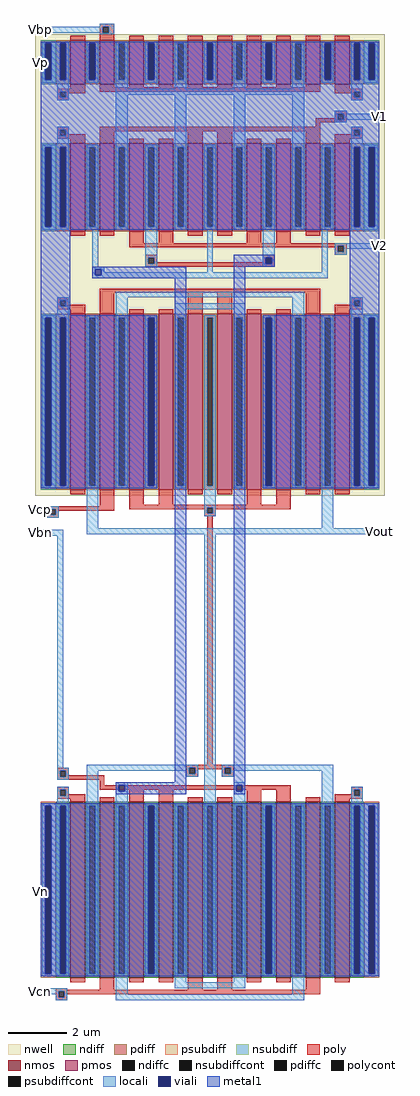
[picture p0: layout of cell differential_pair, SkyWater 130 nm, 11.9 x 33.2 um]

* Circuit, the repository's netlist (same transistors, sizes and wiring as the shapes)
* SPICE3 file created from /home/madvlsi/Documents/MADVLSI-MP3/layout/differential_pair.ext - technology: sky130A


* Top level circuit /home/madvlsi/Documents/MADVLSI-MP3/layout/differential_pair

X0 a_70_150# V1 a_270_150# Vp sky130_fd_pr__pfet_01v8 ad=4.5e+12p pd=2.1e+07u as=9e+12p ps=4.4e+07u w=3e+06u l=500000u
X1 Vp a_70_n4930# a_670_n1610# Vp sky130_fd_pr__pfet_01v8 ad=2.025e+13p pd=9.4e+07u as=6e+12p ps=2.6e+07u w=6e+06u l=500000u
X2 Vp Vbp a_270_150# Vp sky130_fd_pr__pfet_01v8 ad=0p pd=0u as=0p ps=0u w=1.5e+06u l=500000u
X3 a_270_n1610# a_70_n4930# Vp Vp sky130_fd_pr__pfet_01v8 ad=6e+12p pd=2.6e+07u as=0p ps=0u w=6e+06u l=500000u
X4 a_470_150# V2 a_270_150# Vp sky130_fd_pr__pfet_01v8 ad=3e+12p pd=1.4e+07u as=0p ps=0u w=3e+06u l=500000u
X5 Vp Vbp a_270_150# Vp sky130_fd_pr__pfet_01v8 ad=0p pd=0u as=0p ps=0u w=1.5e+06u l=500000u
X6 a_270_n1610# Vcp Vout Vp sky130_fd_pr__pfet_01v8 ad=0p pd=0u as=6e+12p ps=2.6e+07u w=6e+06u l=500000u
X7 a_70_150# V1 a_270_150# Vp sky130_fd_pr__pfet_01v8 ad=0p pd=0u as=0p ps=0u w=3e+06u l=500000u
X8 Vout Vcp a_270_n1610# Vp sky130_fd_pr__pfet_01v8 ad=0p pd=0u as=0p ps=0u w=6e+06u l=500000u
X9 Vn Vbn a_470_150# Vn sky130_fd_pr__nfet_01v8 ad=1.2e+13p pd=5.2e+07u as=6e+12p ps=2.6e+07u w=6e+06u l=500000u
X10 Vp a_70_n4930# a_270_n1610# Vp sky130_fd_pr__pfet_01v8 ad=0p pd=0u as=0p ps=0u w=6e+06u l=500000u
X11 a_270_150# Vbp Vp Vp sky130_fd_pr__pfet_01v8 ad=0p pd=0u as=0p ps=0u w=1.5e+06u l=500000u
X12 Vp Vp Vout Vp sky130_fd_pr__pfet_01v8 ad=0p pd=0u as=0p ps=0u w=6e+06u l=500000u
X13 a_70_150# Vbn Vn Vn sky130_fd_pr__nfet_01v8 ad=6e+12p pd=2.6e+07u as=0p ps=0u w=6e+06u l=500000u
X14 a_270_150# Vbp Vp Vp sky130_fd_pr__pfet_01v8 ad=0p pd=0u as=0p ps=0u w=1.5e+06u l=500000u
X15 a_470_150# V2 a_270_150# Vp sky130_fd_pr__pfet_01v8 ad=0p pd=0u as=0p ps=0u w=3e+06u l=500000u
X16 a_670_n1610# a_70_n4930# Vp Vp sky130_fd_pr__pfet_01v8 ad=0p pd=0u as=0p ps=0u w=6e+06u l=500000u
X17 a_270_150# V1 a_70_150# Vp sky130_fd_pr__pfet_01v8 ad=0p pd=0u as=0p ps=0u w=3e+06u l=500000u
X18 a_70_150# Vcn a_70_n4930# Vn sky130_fd_pr__nfet_01v8 ad=0p pd=0u as=6e+12p ps=2.6e+07u w=6e+06u l=500000u
X19 a_70_n4930# Vcn a_70_150# Vn sky130_fd_pr__nfet_01v8 ad=0p pd=0u as=0p ps=0u w=6e+06u l=500000u
X20 a_270_150# Vbp Vp Vp sky130_fd_pr__pfet_01v8 ad=0p pd=0u as=0p ps=0u w=1.5e+06u l=500000u
X21 a_70_n4930# Vcp a_670_n1610# Vp sky130_fd_pr__pfet_01v8 ad=3e+12p pd=1.3e+07u as=0p ps=0u w=6e+06u l=500000u
X22 Vn Vbn a_70_150# Vn sky130_fd_pr__nfet_01v8 ad=0p pd=0u as=0p ps=0u w=6e+06u l=500000u
X23 Vout Vp Vp Vp sky130_fd_pr__pfet_01v8 ad=0p pd=0u as=0p ps=0u w=6e+06u l=500000u
X24 Vn Vn a_70_n4930# Vn sky130_fd_pr__nfet_01v8 ad=0p pd=0u as=0p ps=0u w=6e+06u l=500000u
X25 Vp Vbp a_270_150# Vp sky130_fd_pr__pfet_01v8 ad=0p pd=0u as=0p ps=0u w=1.5e+06u l=500000u
X26 a_270_150# V2 a_470_150# Vp sky130_fd_pr__pfet_01v8 ad=0p pd=0u as=0p ps=0u w=3e+06u l=500000u
X27 a_670_n1610# Vcp a_70_n4930# Vp sky130_fd_pr__pfet_01v8 ad=0p pd=0u as=0p ps=0u w=6e+06u l=500000u
X28 a_470_150# Vbn Vn Vn sky130_fd_pr__nfet_01v8 ad=0p pd=0u as=0p ps=0u w=6e+06u l=500000u
X29 Vp Vp a_70_150# Vp sky130_fd_pr__pfet_01v8 ad=0p pd=0u as=0p ps=0u w=3e+06u l=500000u
X30 Vout Vcn a_470_150# Vn sky130_fd_pr__nfet_01v8 ad=3e+12p pd=1.3e+07u as=0p ps=0u w=6e+06u l=500000u
X31 Vp Vbp a_270_150# Vp sky130_fd_pr__pfet_01v8 ad=0p pd=0u as=0p ps=0u w=1.5e+06u l=500000u
X32 a_270_150# V1 a_70_150# Vp sky130_fd_pr__pfet_01v8 ad=0p pd=0u as=0p ps=0u w=3e+06u l=500000u
X33 a_70_n4930# Vn Vn Vn sky130_fd_pr__nfet_01v8 ad=0p pd=0u as=0p ps=0u w=6e+06u l=500000u
X34 a_470_150# Vcn Vout Vn sky130_fd_pr__nfet_01v8 ad=0p pd=0u as=0p ps=0u w=6e+06u l=500000u
X35 a_270_150# Vbp Vp Vp sky130_fd_pr__pfet_01v8 ad=0p pd=0u as=0p ps=0u w=1.5e+06u l=500000u
X36 a_70_150# Vp Vp Vp sky130_fd_pr__pfet_01v8 ad=0p pd=0u as=0p ps=0u w=3e+06u l=500000u
X37 a_270_150# V2 a_470_150# Vp sky130_fd_pr__pfet_01v8 ad=0p pd=0u as=0p ps=0u w=3e+06u l=500000u
X38 Vp Vp Vp Vp sky130_fd_pr__pfet_01v8 ad=0p pd=0u as=0p ps=0u w=1.5e+06u l=500000u
X39 Vp Vp Vp Vp sky130_fd_pr__pfet_01v8 ad=0p pd=0u as=0p ps=0u w=1.5e+06u l=500000u
.end

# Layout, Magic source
magic
tech sky130A
<< nwell >>
rect -135 -825 1055 745
<< nmos >>
rect -15 -2465 35 -1865
rect 85 -2465 135 -1865
rect 185 -2465 235 -1865
rect 285 -2465 335 -1865
rect 385 -2465 435 -1865
rect 485 -2465 535 -1865
rect 585 -2465 635 -1865
rect 685 -2465 735 -1865
rect 785 -2465 835 -1865
rect 885 -2465 935 -1865
<< pmos >>
rect -15 575 35 725
rect 85 575 135 725
rect 185 575 235 725
rect 285 575 335 725
rect 385 575 435 725
rect 485 575 535 725
rect 585 575 635 725
rect 685 575 735 725
rect 785 575 835 725
rect 885 575 935 725
rect -15 75 35 375
rect 85 75 135 375
rect 185 75 235 375
rect 285 75 335 375
rect 385 75 435 375
rect 485 75 535 375
rect 585 75 635 375
rect 685 75 735 375
rect 785 75 835 375
rect 885 75 935 375
rect -15 -805 35 -205
rect 85 -805 135 -205
rect 185 -805 235 -205
rect 285 -805 335 -205
rect 385 -805 435 -205
rect 485 -805 535 -205
rect 585 -805 635 -205
rect 685 -805 735 -205
rect 785 -805 835 -205
rect 885 -805 935 -205
<< ndiff >>
rect -65 -1880 -15 -1865
rect -65 -2450 -50 -1880
rect -30 -2450 -15 -1880
rect -65 -2465 -15 -2450
rect 35 -1880 85 -1865
rect 35 -2450 50 -1880
rect 70 -2450 85 -1880
rect 35 -2465 85 -2450
rect 135 -1880 185 -1865
rect 135 -2450 150 -1880
rect 170 -2450 185 -1880
rect 135 -2465 185 -2450
rect 235 -1880 285 -1865
rect 235 -2450 250 -1880
rect 270 -2450 285 -1880
rect 235 -2465 285 -2450
rect 335 -1880 385 -1865
rect 335 -2450 350 -1880
rect 370 -2450 385 -1880
rect 335 -2465 385 -2450
rect 435 -1880 485 -1865
rect 435 -2450 450 -1880
rect 470 -2450 485 -1880
rect 435 -2465 485 -2450
rect 535 -1880 585 -1865
rect 535 -2450 550 -1880
rect 570 -2450 585 -1880
rect 535 -2465 585 -2450
rect 635 -1880 685 -1865
rect 635 -2450 650 -1880
rect 670 -2450 685 -1880
rect 635 -2465 685 -2450
rect 735 -1880 785 -1865
rect 735 -2450 750 -1880
rect 770 -2450 785 -1880
rect 735 -2465 785 -2450
rect 835 -1880 885 -1865
rect 835 -2450 850 -1880
rect 870 -2450 885 -1880
rect 835 -2465 885 -2450
rect 935 -1880 985 -1865
rect 935 -2450 950 -1880
rect 970 -2450 985 -1880
rect 935 -2465 985 -2450
<< pdiff >>
rect -65 715 -15 725
rect -65 590 -50 715
rect -30 590 -15 715
rect -65 575 -15 590
rect 35 715 85 725
rect 35 590 50 715
rect 70 590 85 715
rect 35 575 85 590
rect 135 715 185 725
rect 135 590 150 715
rect 170 590 185 715
rect 135 575 185 590
rect 235 715 285 725
rect 235 590 250 715
rect 270 590 285 715
rect 235 575 285 590
rect 335 715 385 725
rect 335 590 350 715
rect 370 590 385 715
rect 335 575 385 590
rect 435 715 485 725
rect 435 590 450 715
rect 470 590 485 715
rect 435 575 485 590
rect 535 715 585 725
rect 535 590 550 715
rect 570 590 585 715
rect 535 575 585 590
rect 635 715 685 725
rect 635 590 650 715
rect 670 590 685 715
rect 635 575 685 590
rect 735 715 785 725
rect 735 590 750 715
rect 770 590 785 715
rect 735 575 785 590
rect 835 715 885 725
rect 835 590 850 715
rect 870 590 885 715
rect 835 575 885 590
rect 935 715 985 725
rect 935 590 950 715
rect 970 590 985 715
rect 935 575 985 590
rect -65 360 -15 375
rect -65 90 -50 360
rect -30 90 -15 360
rect -65 75 -15 90
rect 35 360 85 375
rect 35 90 50 360
rect 70 90 85 360
rect 35 75 85 90
rect 135 360 185 375
rect 135 90 150 360
rect 170 90 185 360
rect 135 75 185 90
rect 235 360 285 375
rect 235 90 250 360
rect 270 90 285 360
rect 235 75 285 90
rect 335 360 385 375
rect 335 90 350 360
rect 370 90 385 360
rect 335 75 385 90
rect 435 360 485 375
rect 435 90 450 360
rect 470 90 485 360
rect 435 75 485 90
rect 535 360 585 375
rect 535 90 550 360
rect 570 90 585 360
rect 535 75 585 90
rect 635 360 685 375
rect 635 90 650 360
rect 670 90 685 360
rect 635 75 685 90
rect 735 360 785 375
rect 735 90 750 360
rect 770 90 785 360
rect 735 75 785 90
rect 835 360 885 375
rect 835 90 850 360
rect 870 90 885 360
rect 835 75 885 90
rect 935 360 985 375
rect 935 90 950 360
rect 970 90 985 360
rect 935 75 985 90
rect -65 -220 -15 -205
rect -65 -790 -50 -220
rect -30 -790 -15 -220
rect -65 -805 -15 -790
rect 35 -220 85 -205
rect 35 -790 50 -220
rect 70 -790 85 -220
rect 35 -805 85 -790
rect 135 -220 185 -205
rect 135 -790 150 -220
rect 170 -790 185 -220
rect 135 -805 185 -790
rect 235 -220 285 -205
rect 235 -790 250 -220
rect 270 -790 285 -220
rect 235 -805 285 -790
rect 335 -220 385 -205
rect 335 -790 350 -220
rect 370 -790 385 -220
rect 335 -805 385 -790
rect 435 -220 485 -205
rect 435 -790 450 -220
rect 470 -790 485 -220
rect 435 -805 485 -790
rect 535 -220 585 -205
rect 535 -790 550 -220
rect 570 -790 585 -220
rect 535 -805 585 -790
rect 635 -220 685 -205
rect 635 -790 650 -220
rect 670 -790 685 -220
rect 635 -805 685 -790
rect 735 -220 785 -205
rect 735 -790 750 -220
rect 770 -790 785 -220
rect 735 -805 785 -790
rect 835 -220 885 -205
rect 835 -790 850 -220
rect 870 -790 885 -220
rect 835 -805 885 -790
rect 935 -220 985 -205
rect 935 -790 950 -220
rect 970 -790 985 -220
rect 935 -805 985 -790
<< ndiffc >>
rect -50 -2450 -30 -1880
rect 50 -2450 70 -1880
rect 150 -2450 170 -1880
rect 250 -2450 270 -1880
rect 350 -2450 370 -1880
rect 450 -2450 470 -1880
rect 550 -2450 570 -1880
rect 650 -2450 670 -1880
rect 750 -2450 770 -1880
rect 850 -2450 870 -1880
rect 950 -2450 970 -1880
<< pdiffc >>
rect -50 590 -30 715
rect 50 590 70 715
rect 150 590 170 715
rect 250 590 270 715
rect 350 590 370 715
rect 450 590 470 715
rect 550 590 570 715
rect 650 590 670 715
rect 750 590 770 715
rect 850 590 870 715
rect 950 590 970 715
rect -50 90 -30 360
rect 50 90 70 360
rect 150 90 170 360
rect 250 90 270 360
rect 350 90 370 360
rect 450 90 470 360
rect 550 90 570 360
rect 650 90 670 360
rect 750 90 770 360
rect 850 90 870 360
rect 950 90 970 360
rect -50 -790 -30 -220
rect 50 -790 70 -220
rect 150 -790 170 -220
rect 250 -790 270 -220
rect 350 -790 370 -220
rect 450 -790 470 -220
rect 550 -790 570 -220
rect 650 -790 670 -220
rect 750 -790 770 -220
rect 850 -790 870 -220
rect 950 -790 970 -220
<< psubdiff >>
rect -115 -1880 -65 -1865
rect -115 -2450 -100 -1880
rect -80 -2450 -65 -1880
rect -115 -2465 -65 -2450
rect 985 -1880 1035 -1865
rect 985 -2450 1000 -1880
rect 1020 -2450 1035 -1880
rect 985 -2465 1035 -2450
<< nsubdiff >>
rect -115 715 -65 725
rect -115 590 -100 715
rect -80 590 -65 715
rect -115 575 -65 590
rect 985 715 1035 725
rect 985 590 1000 715
rect 1020 590 1035 715
rect 985 575 1035 590
rect -115 360 -65 375
rect -115 90 -100 360
rect -80 90 -65 360
rect -115 75 -65 90
rect 985 360 1035 375
rect 985 90 1000 360
rect 1020 90 1035 360
rect 985 75 1035 90
rect -115 -220 -65 -205
rect -115 -790 -100 -220
rect -80 -790 -65 -220
rect -115 -805 -65 -790
rect 985 -220 1035 -205
rect 985 -790 1000 -220
rect 1020 -790 1035 -220
rect 985 -805 1035 -790
<< psubdiffcont >>
rect -100 -2450 -80 -1880
rect 1000 -2450 1020 -1880
<< nsubdiffcont >>
rect -100 590 -80 715
rect 1000 590 1020 715
rect -100 90 -80 360
rect 1000 90 1020 360
rect -100 -790 -80 -220
rect 1000 -790 1020 -220
<< poly >>
rect 85 770 135 780
rect 85 750 95 770
rect 115 750 135 770
rect -15 725 35 740
rect 85 725 135 750
rect 185 725 235 740
rect 285 725 335 740
rect 385 725 435 740
rect 485 725 535 740
rect 585 725 635 740
rect 685 725 735 740
rect 785 725 835 740
rect 885 725 935 740
rect -15 560 35 575
rect -60 550 35 560
rect 85 565 135 575
rect 185 565 235 575
rect 285 565 335 575
rect 385 565 435 575
rect 485 565 535 575
rect 585 565 635 575
rect 685 565 735 575
rect 785 565 835 575
rect 85 550 835 565
rect 885 560 935 575
rect 885 550 980 560
rect -60 530 -50 550
rect -30 545 35 550
rect 885 545 950 550
rect -30 530 -20 545
rect -60 520 -20 530
rect 940 530 950 545
rect 970 530 980 550
rect 940 520 980 530
rect 885 475 925 485
rect 885 460 895 475
rect 820 455 895 460
rect 915 455 925 475
rect 820 445 925 455
rect 820 430 835 445
rect -60 420 -20 430
rect -60 400 -50 420
rect -30 405 -20 420
rect 85 415 835 430
rect -30 400 35 405
rect -60 390 35 400
rect -15 375 35 390
rect 85 375 135 415
rect 185 375 235 390
rect 285 375 335 390
rect 385 375 435 415
rect 485 375 535 415
rect 585 375 635 390
rect 685 375 735 390
rect 785 375 835 415
rect 940 420 980 430
rect 940 405 950 420
rect 885 400 950 405
rect 970 400 980 420
rect 885 390 980 400
rect 885 375 935 390
rect -15 60 35 75
rect 85 60 135 75
rect 185 35 235 75
rect 285 35 335 75
rect 385 60 435 75
rect 485 60 535 75
rect 585 35 635 75
rect 685 35 735 75
rect 785 60 835 75
rect 885 60 935 75
rect 185 25 925 35
rect 185 20 895 25
rect 885 5 895 20
rect 915 5 925 25
rect 885 -5 925 5
rect 240 -15 280 -5
rect 240 -35 250 -15
rect 270 -30 280 -15
rect 640 -15 680 -5
rect 640 -30 650 -15
rect 270 -35 650 -30
rect 670 -35 680 -15
rect 240 -45 680 -35
rect 85 -135 835 -120
rect -60 -160 -20 -150
rect -60 -180 -50 -160
rect -30 -175 -20 -160
rect -30 -180 35 -175
rect -60 -190 35 -180
rect -15 -205 35 -190
rect 85 -205 135 -135
rect 185 -205 235 -190
rect 285 -205 335 -190
rect 385 -205 435 -135
rect 485 -205 535 -135
rect 585 -205 635 -190
rect 685 -205 735 -190
rect 785 -205 835 -135
rect 940 -160 980 -150
rect 940 -175 950 -160
rect 885 -180 950 -175
rect 970 -180 980 -160
rect 885 -190 980 -180
rect 885 -205 935 -190
rect -15 -820 35 -805
rect 85 -860 135 -805
rect -95 -870 135 -860
rect 185 -855 235 -805
rect 285 -855 335 -805
rect 385 -820 435 -805
rect 485 -820 535 -805
rect 585 -855 635 -805
rect 685 -855 735 -805
rect 785 -820 835 -805
rect 885 -820 935 -805
rect 185 -865 735 -855
rect 185 -870 450 -865
rect -95 -890 -85 -870
rect -65 -875 135 -870
rect -65 -890 -55 -875
rect -95 -900 -55 -890
rect 440 -885 450 -870
rect 470 -870 735 -865
rect 470 -885 480 -870
rect 440 -895 480 -885
rect 450 -1740 470 -895
rect 380 -1750 540 -1740
rect -60 -1760 -20 -1750
rect -60 -1780 -50 -1760
rect -30 -1775 -20 -1760
rect 380 -1770 390 -1750
rect 410 -1755 510 -1750
rect 410 -1770 420 -1755
rect -30 -1780 100 -1775
rect 380 -1780 420 -1770
rect 500 -1770 510 -1755
rect 530 -1770 540 -1750
rect 500 -1780 540 -1770
rect -60 -1790 100 -1780
rect 85 -1810 100 -1790
rect -60 -1825 -20 -1815
rect 85 -1825 735 -1810
rect -60 -1845 -50 -1825
rect -30 -1840 -20 -1825
rect -30 -1845 35 -1840
rect -60 -1855 35 -1845
rect -15 -1865 35 -1855
rect 85 -1865 135 -1850
rect 185 -1865 235 -1825
rect 285 -1865 335 -1825
rect 385 -1865 435 -1850
rect 485 -1865 535 -1850
rect 585 -1865 635 -1825
rect 685 -1865 735 -1825
rect 940 -1825 980 -1815
rect 940 -1840 950 -1825
rect 885 -1845 950 -1840
rect 970 -1845 980 -1825
rect 785 -1865 835 -1850
rect 885 -1855 980 -1845
rect 885 -1865 935 -1855
rect -15 -2480 35 -2465
rect -65 -2505 -25 -2500
rect 85 -2505 135 -2465
rect 185 -2480 235 -2465
rect 285 -2480 335 -2465
rect 385 -2505 435 -2465
rect 485 -2505 535 -2465
rect 585 -2480 635 -2465
rect 685 -2480 735 -2465
rect 785 -2505 835 -2465
rect 885 -2480 935 -2465
rect -65 -2510 835 -2505
rect -65 -2530 -55 -2510
rect -35 -2520 835 -2510
rect -35 -2530 -25 -2520
rect -65 -2540 -25 -2530
<< polycont >>
rect 95 750 115 770
rect -50 530 -30 550
rect 950 530 970 550
rect 895 455 915 475
rect -50 400 -30 420
rect 950 400 970 420
rect 895 5 915 25
rect 250 -35 270 -15
rect 650 -35 670 -15
rect -50 -180 -30 -160
rect 950 -180 970 -160
rect -85 -890 -65 -870
rect 450 -885 470 -865
rect -50 -1780 -30 -1760
rect 390 -1770 410 -1750
rect 510 -1770 530 -1750
rect -50 -1845 -30 -1825
rect 950 -1845 970 -1825
rect -55 -2530 -35 -2510
<< locali >>
rect 85 770 135 780
rect -115 750 95 770
rect 115 750 135 770
rect 85 745 135 750
rect -110 715 -20 720
rect -110 590 -100 715
rect -80 590 -50 715
rect -30 590 -20 715
rect -110 580 -20 590
rect 40 715 80 720
rect 40 590 50 715
rect 70 590 80 715
rect 40 580 80 590
rect 140 715 180 720
rect 140 590 150 715
rect 170 590 180 715
rect -60 550 -20 580
rect -60 530 -50 550
rect -30 530 -20 550
rect -60 520 -20 530
rect 140 560 180 590
rect 240 715 280 720
rect 240 590 250 715
rect 270 590 280 715
rect 240 580 280 590
rect 340 715 380 720
rect 340 590 350 715
rect 370 590 380 715
rect 340 560 380 590
rect 440 715 480 720
rect 440 590 450 715
rect 470 590 480 715
rect 440 580 480 590
rect 540 715 580 720
rect 540 590 550 715
rect 570 590 580 715
rect 540 560 580 590
rect 640 715 680 720
rect 640 590 650 715
rect 670 590 680 715
rect 640 580 680 590
rect 740 715 780 720
rect 740 590 750 715
rect 770 590 780 715
rect 740 560 780 590
rect 840 715 880 720
rect 840 590 850 715
rect 870 590 880 715
rect 840 580 880 590
rect 940 715 1030 720
rect 940 590 950 715
rect 970 590 1000 715
rect 1020 590 1030 715
rect 940 580 1030 590
rect 140 540 780 560
rect -60 420 -20 430
rect -60 400 -50 420
rect -30 400 -20 420
rect -60 370 -20 400
rect -110 360 -20 370
rect -110 90 -100 360
rect -80 90 -50 360
rect -30 90 -20 360
rect -110 80 -20 90
rect 40 360 80 370
rect 40 90 50 360
rect 70 90 80 360
rect 40 80 80 90
rect 140 360 180 540
rect 140 90 150 360
rect 170 90 180 360
rect 140 80 180 90
rect 240 360 280 370
rect 240 90 250 360
rect 270 90 280 360
rect 60 -45 80 80
rect 240 -15 280 90
rect 340 360 380 540
rect 340 90 350 360
rect 370 90 380 360
rect 340 80 380 90
rect 440 360 480 370
rect 440 90 450 360
rect 470 90 480 360
rect 440 80 480 90
rect 540 360 580 540
rect 540 90 550 360
rect 570 90 580 360
rect 540 80 580 90
rect 640 360 680 370
rect 640 90 650 360
rect 670 90 680 360
rect 240 -35 250 -15
rect 270 -35 280 -15
rect 240 -45 280 -35
rect 60 -55 100 -45
rect 60 -75 70 -55
rect 90 -65 100 -55
rect 450 -65 470 80
rect 640 -15 680 90
rect 740 360 780 540
rect 940 550 980 580
rect 940 530 950 550
rect 970 530 980 550
rect 940 520 980 530
rect 885 475 925 485
rect 885 455 895 475
rect 915 455 1035 475
rect 885 445 925 455
rect 940 420 980 430
rect 940 400 950 420
rect 970 400 980 420
rect 940 370 980 400
rect 740 90 750 360
rect 770 90 780 360
rect 740 80 780 90
rect 840 360 880 370
rect 840 90 850 360
rect 870 90 880 360
rect 840 80 880 90
rect 940 360 1030 370
rect 940 90 950 360
rect 970 90 1000 360
rect 1020 90 1030 360
rect 940 80 1030 90
rect 640 -35 650 -15
rect 670 -35 680 -15
rect 640 -45 680 -35
rect 840 -65 860 80
rect 885 25 1035 35
rect 885 5 895 25
rect 915 15 1035 25
rect 915 5 925 15
rect 885 -5 925 5
rect 90 -75 860 -65
rect 60 -85 860 -75
rect 140 -150 780 -130
rect -60 -160 -20 -150
rect -60 -180 -50 -160
rect -30 -180 -20 -160
rect -60 -210 -20 -180
rect -110 -220 -20 -210
rect -110 -790 -100 -220
rect -80 -790 -50 -220
rect -30 -790 -20 -220
rect -110 -800 -20 -790
rect 40 -220 80 -210
rect 40 -790 50 -220
rect 70 -790 80 -220
rect -115 -870 -55 -860
rect -115 -880 -85 -870
rect -95 -890 -85 -880
rect -65 -890 -55 -870
rect -95 -900 -55 -890
rect 40 -935 80 -790
rect 140 -220 180 -150
rect 340 -190 580 -170
rect 140 -790 150 -220
rect 170 -790 180 -220
rect 140 -800 180 -790
rect 240 -220 280 -210
rect 240 -790 250 -220
rect 270 -790 280 -220
rect 240 -800 280 -790
rect 340 -220 380 -190
rect 340 -790 350 -220
rect 370 -790 380 -220
rect 340 -800 380 -790
rect 440 -220 480 -210
rect 440 -790 450 -220
rect 470 -790 480 -220
rect 440 -865 480 -790
rect 540 -220 580 -190
rect 540 -790 550 -220
rect 570 -790 580 -220
rect 540 -800 580 -790
rect 640 -220 680 -210
rect 640 -790 650 -220
rect 670 -790 680 -220
rect 640 -800 680 -790
rect 740 -220 780 -150
rect 940 -160 980 -150
rect 940 -180 950 -160
rect 970 -180 980 -160
rect 940 -210 980 -180
rect 740 -790 750 -220
rect 770 -790 780 -220
rect 740 -800 780 -790
rect 840 -220 880 -210
rect 840 -790 850 -220
rect 870 -790 880 -220
rect 440 -885 450 -865
rect 470 -885 480 -865
rect 440 -895 480 -885
rect 840 -935 880 -790
rect 940 -220 1030 -210
rect 940 -790 950 -220
rect 970 -790 1000 -220
rect 1020 -790 1030 -220
rect 940 -800 1030 -790
rect -115 -960 -40 -940
rect 40 -955 1035 -935
rect -60 -1750 -40 -960
rect 40 -1750 420 -1740
rect -60 -1760 -20 -1750
rect -60 -1780 -50 -1760
rect -30 -1780 -20 -1760
rect -60 -1790 -20 -1780
rect 40 -1760 390 -1750
rect -60 -1825 -20 -1815
rect -60 -1845 -50 -1825
rect -30 -1845 -20 -1825
rect -60 -1870 -20 -1845
rect -110 -1880 -20 -1870
rect -110 -2450 -100 -1880
rect -80 -2450 -50 -1880
rect -30 -2450 -20 -1880
rect -110 -2460 -20 -2450
rect 40 -1880 80 -1760
rect 380 -1770 390 -1760
rect 410 -1770 420 -1750
rect 380 -1780 420 -1770
rect 40 -2450 50 -1880
rect 70 -2450 80 -1880
rect 40 -2460 80 -2450
rect 140 -1810 180 -1800
rect 140 -1830 150 -1810
rect 170 -1830 180 -1810
rect 140 -1880 180 -1830
rect 140 -2450 150 -1880
rect 170 -2450 180 -1880
rect -115 -2510 -25 -2500
rect -115 -2520 -55 -2510
rect -65 -2530 -55 -2520
rect -35 -2530 -25 -2510
rect -65 -2540 -25 -2530
rect 140 -2520 180 -2450
rect 240 -1880 280 -1870
rect 240 -2450 250 -1880
rect 270 -2450 280 -1880
rect 240 -2460 280 -2450
rect 340 -1880 380 -1870
rect 340 -2450 350 -1880
rect 370 -2450 380 -1880
rect 340 -2480 380 -2450
rect 440 -1880 480 -955
rect 500 -1750 880 -1740
rect 500 -1770 510 -1750
rect 530 -1760 880 -1750
rect 530 -1770 540 -1760
rect 500 -1780 540 -1770
rect 440 -2450 450 -1880
rect 470 -2450 480 -1880
rect 440 -2460 480 -2450
rect 540 -1810 580 -1800
rect 540 -1830 550 -1810
rect 570 -1830 580 -1810
rect 540 -1880 580 -1830
rect 540 -2450 550 -1880
rect 570 -2450 580 -1880
rect 540 -2480 580 -2450
rect 640 -1880 680 -1870
rect 640 -2450 650 -1880
rect 670 -2450 680 -1880
rect 640 -2460 680 -2450
rect 740 -1880 780 -1870
rect 740 -2450 750 -1880
rect 770 -2450 780 -1880
rect 340 -2500 580 -2480
rect 740 -2520 780 -2450
rect 840 -1880 880 -1760
rect 840 -2450 850 -1880
rect 870 -2450 880 -1880
rect 840 -2460 880 -2450
rect 940 -1825 980 -1815
rect 940 -1845 950 -1825
rect 970 -1845 980 -1825
rect 940 -1870 980 -1845
rect 940 -1880 1030 -1870
rect 940 -2450 950 -1880
rect 970 -2450 1000 -1880
rect 1020 -2450 1030 -1880
rect 940 -2460 1030 -2450
rect 140 -2540 780 -2520
<< viali >>
rect -100 590 -80 715
rect -50 590 -30 715
rect 50 590 70 715
rect 250 590 270 715
rect 450 590 470 715
rect 650 590 670 715
rect 850 590 870 715
rect 950 590 970 715
rect 1000 590 1020 715
rect -100 90 -80 360
rect -50 90 -30 360
rect 70 -75 90 -55
rect 950 90 970 360
rect 1000 90 1020 360
rect 650 -35 670 -15
rect -100 -790 -80 -220
rect -50 -790 -30 -220
rect 250 -790 270 -220
rect 650 -790 670 -220
rect 950 -790 970 -220
rect 1000 -790 1020 -220
rect -100 -2450 -80 -1880
rect -50 -2450 -30 -1880
rect 150 -1830 170 -1810
rect 250 -2450 270 -1880
rect 550 -1830 570 -1810
rect 650 -2450 670 -1880
rect 950 -2450 970 -1880
rect 1000 -2450 1020 -1880
<< metal1 >>
rect -115 715 1035 720
rect -115 590 -100 715
rect -80 590 -50 715
rect -30 590 50 715
rect 70 590 250 715
rect 270 590 450 715
rect 470 590 650 715
rect 670 590 850 715
rect 870 590 950 715
rect 970 590 1000 715
rect 1020 590 1035 715
rect -115 360 1035 590
rect -115 90 -100 360
rect -80 90 -50 360
rect -30 90 950 360
rect 970 90 1000 360
rect 1020 90 1035 360
rect -115 80 1035 90
rect -115 -210 -15 80
rect 540 -15 680 -5
rect 540 -35 650 -15
rect 670 -35 680 -15
rect 540 -45 680 -35
rect 60 -55 380 -45
rect 60 -75 70 -55
rect 90 -75 380 -55
rect 60 -85 380 -75
rect -115 -220 280 -210
rect -115 -790 -100 -220
rect -80 -790 -50 -220
rect -30 -790 250 -220
rect 270 -790 280 -220
rect -115 -800 280 -790
rect 340 -1800 380 -85
rect 140 -1810 380 -1800
rect 140 -1830 150 -1810
rect 170 -1830 380 -1810
rect 140 -1840 380 -1830
rect 540 -1810 580 -45
rect 935 -210 1035 80
rect 640 -220 1035 -210
rect 640 -790 650 -220
rect 670 -790 950 -220
rect 970 -790 1000 -220
rect 1020 -790 1035 -220
rect 640 -800 1035 -790
rect 540 -1830 550 -1810
rect 570 -1830 580 -1810
rect 540 -1840 580 -1830
rect -115 -1880 1035 -1870
rect -115 -2450 -100 -1880
rect -80 -2450 -50 -1880
rect -30 -2450 250 -1880
rect 270 -2450 650 -1880
rect 670 -2450 950 -1880
rect 970 -2450 1000 -1880
rect 1020 -2450 1035 -1880
rect -115 -2460 1035 -2450
<< labels >>
rlabel metal1 -115 -2170 -115 -2170 7 Vn
port 2 w
rlabel locali 1035 25 1035 25 3 V2
port 4 e
rlabel locali 1035 465 1035 465 3 V1
port 3 e
rlabel metal1 -115 650 -115 650 7 Vp
port 1 w
rlabel locali -115 760 -115 760 7 Vbp
port 6 w
rlabel locali -115 -870 -115 -870 7 Vcp
port 7 w
rlabel locali 1035 -945 1035 -945 3 Vout
port 5 e
rlabel locali -115 -2510 -115 -2510 7 Vcn
port 9 w
rlabel locali -115 -950 -115 -950 7 Vbn
port 8 w
<< end >>
